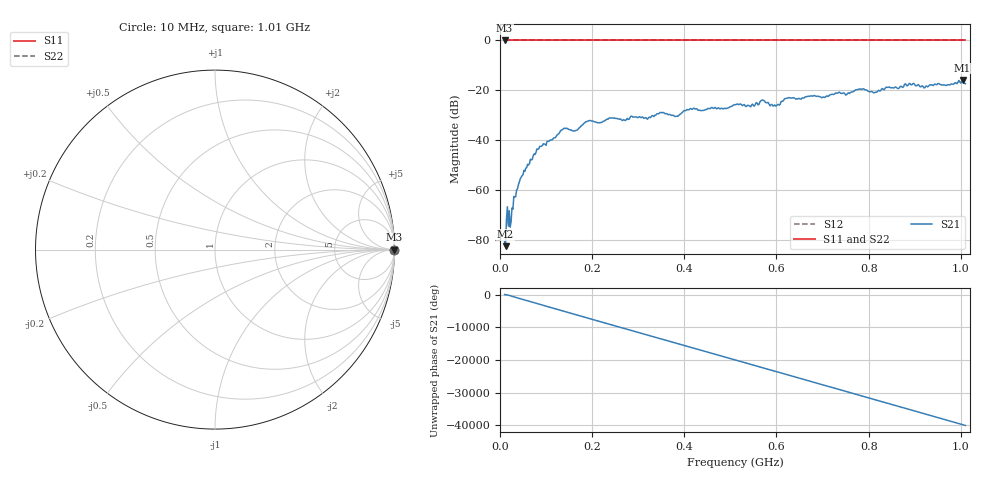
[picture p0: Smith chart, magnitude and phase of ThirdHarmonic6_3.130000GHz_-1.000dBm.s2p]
! 8/17/2025 9:18:57 AM
! C:\ANRITSUVNA\TEMP\TEMP.S2P
! CHANNEL.1
! TR.MEASUREMENT
! RAW.DATA
! RF.CORRECTION.OFF
! AVERAGING.OFF
! IF.BANDWIDTH: 5KHZ
! SWEEPTYPE:  FREQ.SWEEP(Linear)
! Reference Plane Port Info
! PORT:  PORT1  PORT2
! DISTANCE:  0  m  0  m
! TIME:  0  s  0  s
! PHASE.OFFSET:  0  deg.  0  deg.
! LOSS:  0  dB  0  dB
! REF.LOSS:  0  dB  0  dB
! REF.FREQ:  0  Hz  0  Hz
! Power Info
! POWER:  -20  dBm  -20  dBm
! EFF.POWER:  -20  dBm  -20  dBm
! SOURCE.ATTEN:  0  dB  0  dB
! TEST.ATTEN:  0  dB  0  dB
# GHZ S RI R 50.0
! FREQ.GHZ  S11RE  S11IM  S21RE  S21IM  S12RE  S12IM  S22RE  S22IM
!; PortSelection: Port_12
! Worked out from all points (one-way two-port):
!   501 points, 10 MHz to 1.01 GHz, reference 50 ohm
!   highest |S21| = -15.75 dB at 1.004 GHz (marker M1); lowest = -82.3 dB at 12 MHz (marker M2)
!   lowest |S11| = 0.0 dB at 10 MHz (marker M3)
!   |S11| at or under -10 dB: nowhere
!   |S22| runs from 0.0 to 0.0 dB; largest |S21 - S12| = 1.1
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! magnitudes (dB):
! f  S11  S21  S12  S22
! 10 MHz  0.0  -80.4  0.0  0.0
! 12 MHz  0.0  -82.3  0.0  0.0
! 18 MHz  0.0  -74.3  0.0  0.0
! 26 MHz  0.0  -67.0  0.0  0.0
! 34 MHz  0.0  -62.5  0.0  0.0
! 44 MHz  0.0  -55.3  0.0  0.0
! 82 MHz  0.0  -43.5  0.0  0.0
! 136 MHz  0.0  -35.6  0.0  0.0
! 164 MHz  0.0  -36.0  0.0  0.0
! 178 MHz  0.0  -33.9  0.0  0.0
! 344 MHz  0.0  -29.3  0.0  0.0
! 382 MHz  0.0  -30.3  0.0  0.0
! 410 MHz  0.0  -27.8  0.0  0.0
! 510 MHz  0.0  -25.7  0.0  0.0
! 570 MHz  0.0  -23.8  0.0  0.0
! 596 MHz  0.0  -25.8  0.0  0.0
! 622 MHz  0.0  -23.1  0.0  0.0
! 678 MHz  0.0  -22.3  0.0  0.0
! 814 MHz  0.0  -20.8  0.0  0.0
! 844 MHz  0.0  -18.6  0.0  0.0
! 1.004 GHz  0.0  -15.8  0.0  0.0
! 1.01 GHz  0.0  -17.3  0.0  0.0
